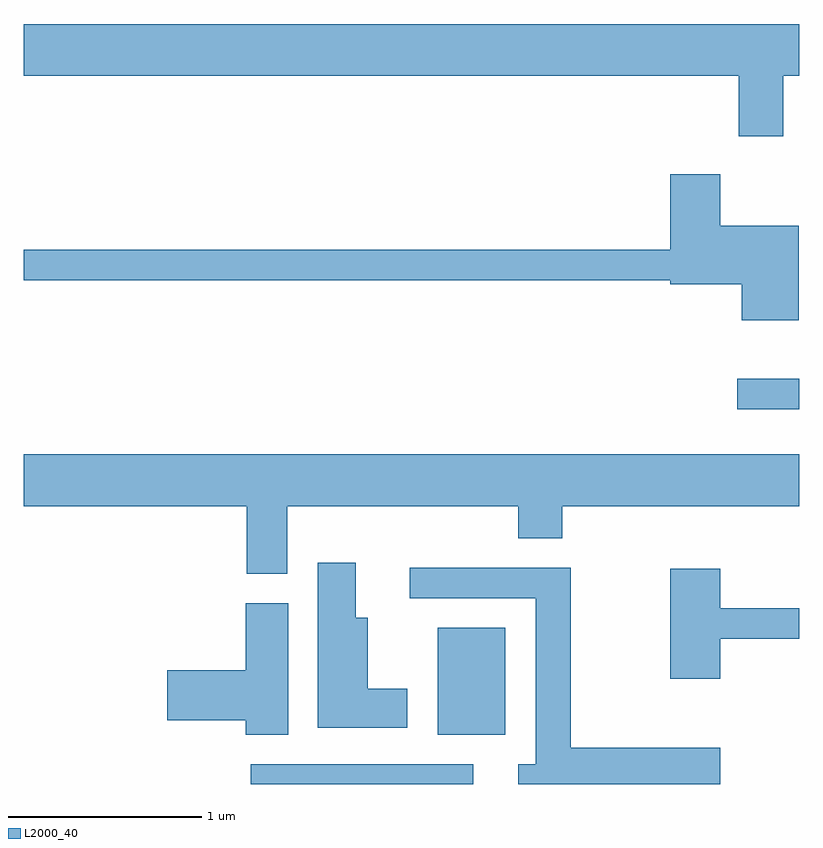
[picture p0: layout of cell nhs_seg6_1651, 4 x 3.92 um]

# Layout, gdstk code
import gdstk
lib = gdstk.Library(unit=1e-6, precision=1e-09)
def R(c, l, rs):  # rectangles x0, y0, x1, y1
    for r in rs: c.add(gdstk.rectangle(r[:2], r[2:], *l))
def P(c, l, *ps):  # polygons
    for p in ps: c.add(gdstk.Polygon(p, *l))
L2000_40 = (2000, 40)

nhs_seg6_1651 = lib.new_cell('nhs_seg6_1651')
R(nhs_seg6_1651, L2000_40, [(236.781,1544.162,237.929,1544.264), (237.746,1544.416,238.094,1544.969), (239.293,1546.096,239.611,1546.254)])
P(nhs_seg6_1651, L2000_40, [(239.529,1547.816),(239.611,1547.816),(239.611,1548.084),(235.611,1548.084),(235.611,1547.816),(239.301,1547.816),(239.301,1547.506),(239.529,1547.506)],
  [(239.609,1547.044),(239.204,1547.044),(239.204,1547.309),(238.946,1547.309),(238.946,1546.919),(235.611,1546.919),(235.611,1546.761),(238.946,1546.761),(238.946,1546.741),(239.316,1546.741),(239.316,1546.556),(239.609,1546.556)],
  [(236.969,1545.596),(238.161,1545.596),(238.161,1545.431),(238.389,1545.431),(238.389,1545.596),(239.611,1545.596),(239.611,1545.864),(235.611,1545.864),(235.611,1545.596),(236.761,1545.596),(236.761,1545.246),(236.969,1545.246)],
  [(237.589,1544.654),(237.384,1544.654),(237.384,1545.019),(237.324,1545.019),(237.324,1545.304),(237.126,1545.304),(237.126,1544.451),(237.589,1544.451)],
  [(239.204,1544.349),(238.434,1544.349),(238.434,1545.279),(237.603,1545.279),(237.603,1545.121),(238.251,1545.121),(238.251,1544.264),(238.161,1544.264),(238.161,1544.162),(239.204,1544.162)],
  [(239.204,1544.911),(239.611,1544.911),(239.611,1545.069),(239.204,1545.069),(239.204,1545.274),(238.946,1545.274),(238.946,1544.706),(239.204,1544.706)],
  [(236.974,1545.094),(236.756,1545.094),(236.756,1544.749),(236.351,1544.749),(236.351,1544.491),(236.756,1544.491),(236.756,1544.416),(236.974,1544.416)])

lib.write_gds('nhs_seg6_1651.gds')
